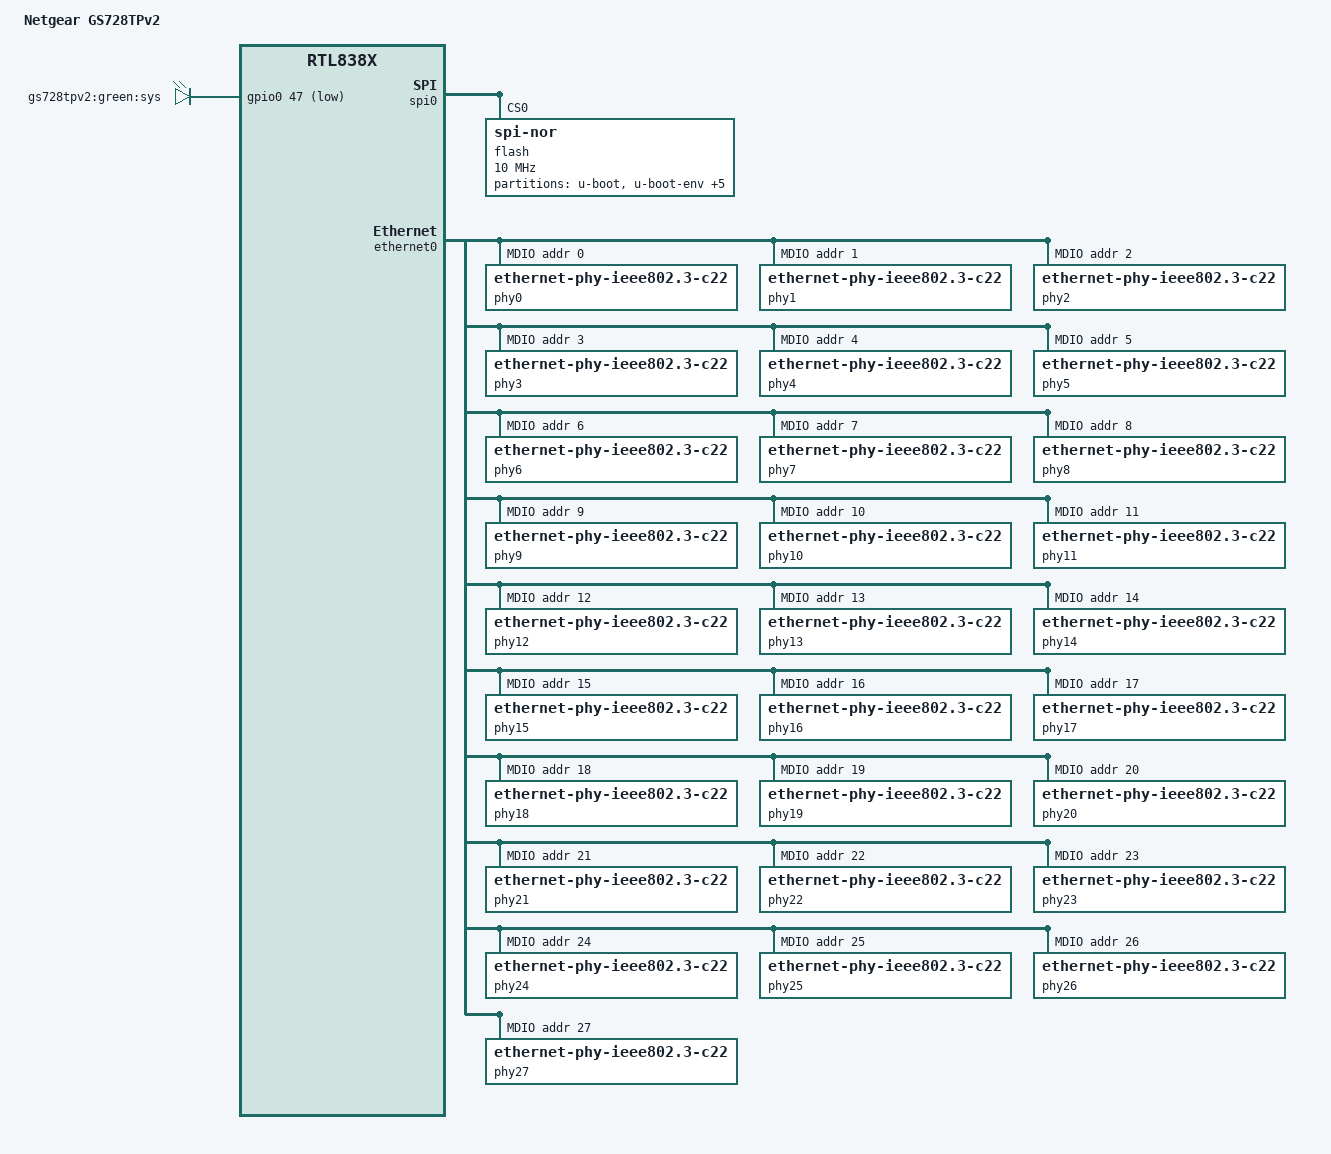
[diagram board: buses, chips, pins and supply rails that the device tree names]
/dts-v1/;

#include "rtl839x.dtsi"

#include <dt-bindings/input/input.h>
#include <dt-bindings/gpio/gpio.h>

/ {
	compatible = "netgear,gs728tpv2", "realtek,rtl838x-soc";
	model = "Netgear GS728TPv2";

	aliases {
		led-boot = &led_sys;
		led-failsafe = &led_sys;
		led-running = &led_sys;
		led-upgrade = &led_sys;
	};	

	chosen {
		bootargs = "console=ttyS0,115200";
	};

	leds {
		compatible = "gpio-leds";

		led_sys: sys {
			label = "gs728tpv2:green:sys";
			gpios = <&gpio0 47 GPIO_ACTIVE_LOW>;
		};
	};
};

&gpio0 {
	indirect-access-bus-id = <0>;
};

&spi0 {
	status = "okay";
	flash@0 {
		compatible = "jedec,spi-nor";
		reg = <0>;
		spi-max-frequency = <10000000>;

		partitions {
			compatible = "fixed-partitions";
			#address-cells = <1>;
			#size-cells = <1>;

			partition@0 {
				label = "u-boot";
				reg = <0x00000000 0xe0000>;
				read-only;
			};
			partition@e0000 {
				label = "u-boot-env";
				reg = <0x000e0000 0x10000>;
				read-only;
			};
			partition@f0000 {
				label = "u-boot-env2";
				reg = <0x000f0000 0x10000>;
				read-only;
			};
			partition@100000 {
				label = "jffs2_cfg";
				reg = <0x00100000 0x100000>;
			};
			partition@200000 {
				label = "jffs2_log";
				reg = <0x00200000 0x100000>;
			};
			partition@300000 {
				label = "rootfs";
				compatible = "denx,uimage";
				reg = <0x00300000 0xe80000>;
			};
			partition@1180000 {
				label = "firmware2";
				compatible = "netgear,uimage";
				reg = <0x01180000 0xe80000>;
			};
		};
	};
};

&ethernet0 {
	mdio: mdio-bus {
		compatible = "realtek,rtl838x-mdio";
		regmap = <&ethernet0>;
		#address-cells = <1>;
		#size-cells = <0>;
		
		/* External phy RTL8218B */
		phy0: ethernet-phy@0 {
			reg = <0>;
			compatible = "ethernet-phy-ieee802.3-c22";
		};
		phy1: ethernet-phy@1 {
			reg = <1>;
			compatible = "ethernet-phy-ieee802.3-c22";
		};
		phy2: ethernet-phy@2 {
			reg = <2>;
			compatible = "ethernet-phy-ieee802.3-c22";
		};
		phy3: ethernet-phy@3 {
			reg = <3>;
			compatible = "ethernet-phy-ieee802.3-c22";
		};
		phy4: ethernet-phy@4 {
			reg = <4>;
			compatible = "ethernet-phy-ieee802.3-c22";
		};
		phy5: ethernet-phy@5 {
			reg = <5>;
			compatible = "ethernet-phy-ieee802.3-c22";
		};
		phy6: ethernet-phy@6 {
			reg = <6>;
			compatible = "ethernet-phy-ieee802.3-c22";
		};
		phy7: ethernet-phy@7 {
			reg = <7>;
			compatible = "ethernet-phy-ieee802.3-c22";
		};

		/* External phy RTL8218B */
		phy8: ethernet-phy@8 {
			reg = <8>;
			compatible = "ethernet-phy-ieee802.3-c22";
		};
		phy9: ethernet-phy@9 {
			reg = <9>;
			compatible = "ethernet-phy-ieee802.3-c22";
		};
		phy10: ethernet-phy@10 {
			reg = <10>;
			compatible = "ethernet-phy-ieee802.3-c22";
		};
		phy11: ethernet-phy@11 {
			reg = <11>;
			compatible = "ethernet-phy-ieee802.3-c22";
		};
		phy12: ethernet-phy@12 {
			reg = <12>;
			compatible = "ethernet-phy-ieee802.3-c22";
		};
		phy13: ethernet-phy@13 {
			reg = <13>;
			compatible = "ethernet-phy-ieee802.3-c22";
		};
		phy14: ethernet-phy@14 {
			reg = <14>;
			compatible = "ethernet-phy-ieee802.3-c22";
		};
		phy15: ethernet-phy@15 {
			reg = <15>;
			compatible = "ethernet-phy-ieee802.3-c22";
		};

		/* External phy RTL8218B */
		phy16: ethernet-phy@16 {
			reg = <16>;
			compatible = "ethernet-phy-ieee802.3-c22";
		};
		phy17: ethernet-phy@17 {
			reg = <17>;
			compatible = "ethernet-phy-ieee802.3-c22";
		};
		phy18: ethernet-phy@18 {
			reg = <18>;
			compatible = "ethernet-phy-ieee802.3-c22";
		};
		phy19: ethernet-phy@19 {
			reg = <19>;
			compatible = "ethernet-phy-ieee802.3-c22";
		};
		phy20: ethernet-phy@20 {
			reg = <20>;
			compatible = "ethernet-phy-ieee802.3-c22";
		};
		phy21: ethernet-phy@21 {
			reg = <21>;
			compatible = "ethernet-phy-ieee802.3-c22";
		};
		phy22: ethernet-phy@22 {
			reg = <22>;
			compatible = "ethernet-phy-ieee802.3-c22";
		};
		phy23: ethernet-phy@23 {
			reg = <23>;
			compatible = "ethernet-phy-ieee802.3-c22";
		};

		/* External unknown phy */
		phy24: ethernet-phy@24 {
			compatible = "ethernet-phy-ieee802.3-c22";
			reg = <24>;
		};
		phy25: ethernet-phy@25 {
			compatible = "ethernet-phy-ieee802.3-c22";
			reg = <25>;
		};
		phy26: ethernet-phy@26 {
			compatible = "ethernet-phy-ieee802.3-c22";
			reg = <26>;
		};
		phy27: ethernet-phy@27 {
			compatible = "ethernet-phy-ieee802.3-c22";
			reg = <27>;
		};
	};
};

&switch0 {
	ports {
		#address-cells = <1>;
		#size-cells = <0>;

		port@0 {
			reg = <0>;
			label = "lan1";
			phy-handle = <&phy0>;
			phy-mode = "qsgmii";
		};
		port@1 {
			reg = <1>;
			label = "lan2";
			phy-handle = <&phy1>;
			phy-mode = "qsgmii";
		};
		port@2 {
			reg = <2>;
			label = "lan3";
			phy-handle = <&phy2>;
			phy-mode = "qsgmii";
		};
		port@3 {
			reg = <3>;
			label = "lan4";
			phy-handle = <&phy3>;
			phy-mode = "qsgmii";
		};
		port@4 {
			reg = <4>;
			label = "lan5";
			phy-handle = <&phy4>;
			phy-mode = "qsgmii";
		};
		port@5 {
			reg = <5>;
			label = "lan6";
			phy-handle = <&phy5>;
			phy-mode = "qsgmii";
		};
		port@6 {
			reg = <6>;
			label = "lan7";
			phy-handle = <&phy6>;
			phy-mode = "qsgmii";
		};
		port@7 {
			reg = <7>;
			label = "lan8";
			phy-handle = <&phy7>;
			phy-mode = "qsgmii";
		};
		
		port@8 {
			reg = <8>;
			label = "lan9";
			phy-handle = <&phy8>;
			phy-mode = "internal";
		};
		port@9 {
			reg = <9>;
			label = "lan10";
			phy-handle = <&phy9>;
			phy-mode = "internal";
		};
		port@10 {
			reg = <10>;
			label = "lan11";
			phy-handle = <&phy10>;
			phy-mode = "internal";
		};
		port@11 {
			reg = <11>;
			label = "lan12";
			phy-handle = <&phy11>;
			phy-mode = "internal";
		};
		port@12 {
			reg = <12>;
			label = "lan13";
			phy-handle = <&phy12>;
			phy-mode = "internal";
		};
		port@13 {
			reg = <13>;
			label = "lan14";
			phy-handle = <&phy13>;
			phy-mode = "internal";
		};
		port@14 {
			reg = <14>;
			label = "lan15";
			phy-handle = <&phy14>;
			phy-mode = "internal";
		};
		port@15 {
			reg = <15>;
			label = "lan16";
			phy-handle = <&phy15>;
			phy-mode = "internal";
		};
		port@16 {
			reg = <16>;
			label = "lan17";
			phy-handle = <&phy16>;
			phy-mode = "internal";
		};
		port@17 {
			reg = <17>;
			label = "lan18";
			phy-handle = <&phy17>;
			phy-mode = "internal";
		};
		port@18 {
			reg = <18>;
			label = "lan19";
			phy-handle = <&phy18>;
			phy-mode = "internal";
		};
		port@19 {
			reg = <19>;
			label = "lan20";
			phy-handle = <&phy19>;
			phy-mode = "internal";
		};
		port@20 {
			reg = <20>;
			label = "lan21";
			phy-handle = <&phy20>;
			phy-mode = "internal";
		};
		port@21 {
			reg = <21>;
			label = "lan22";
			phy-handle = <&phy21>;
			phy-mode = "internal";
		};
		port@22 {
			reg = <22>;
			label = "lan23";
			phy-handle = <&phy22>;
			phy-mode = "internal";
		};
		port@23 {
			reg = <23>;
			label = "lan24";
			phy-handle = <&phy23>;
			phy-mode = "internal";
		};
		port@24 {
			reg = <24>;
			label = "lan25";
			phy-handle = <&phy24>;
			phy-mode = "qsgmii";
		};
		port@25 {
			reg = <25>;
			label = "lan26";
			phy-handle = <&phy25>;
			phy-mode = "qsgmii";
		};
		port@26 {
			reg = <26>;
			label = "lan27";
			phy-handle = <&phy26>;
			phy-mode = "qsgmii";
		};
		port@27 {
			reg = <27>;
			label = "lan28";
			phy-handle = <&phy27>;
			phy-mode = "qsgmii";
		};
		port@52 {
			ethernet = <&ethernet0>;
			reg = <52>;
			phy-mode = "internal";
			fixed-link {
				speed = <1000>;
				full-duplex;
			};
		};
	};
};
